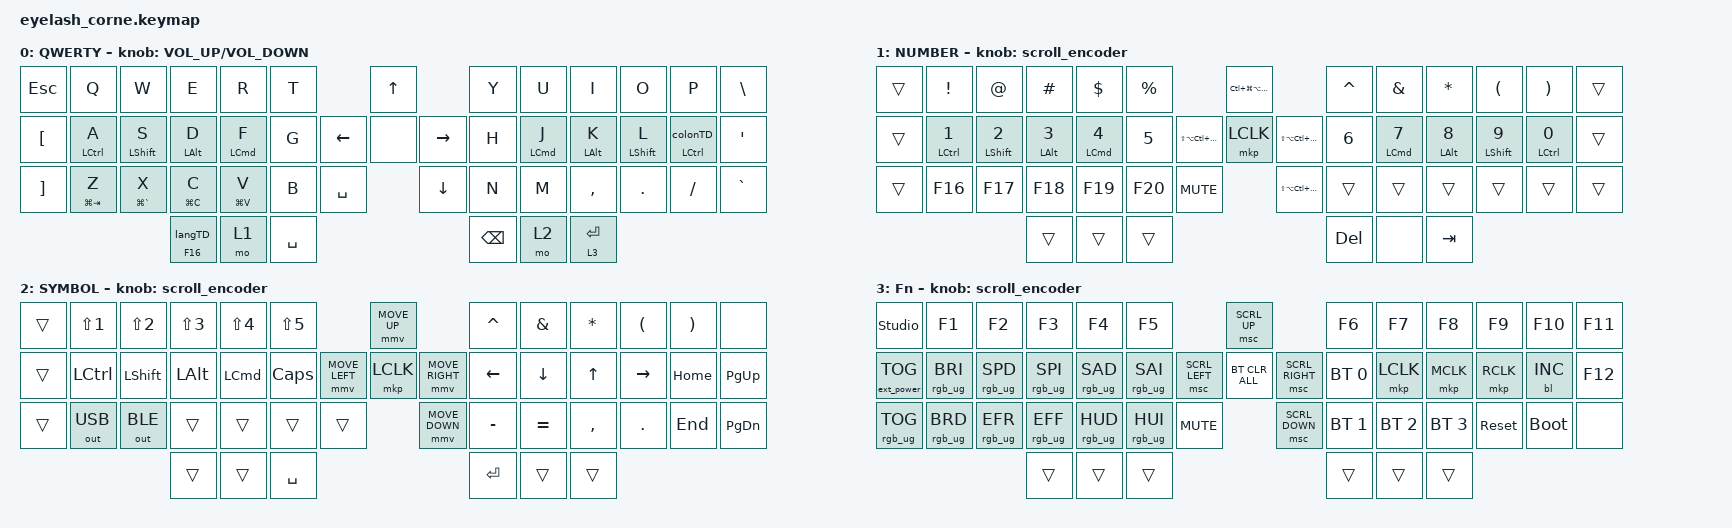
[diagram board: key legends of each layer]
#define ZMK_POINTING_DEFAULT_MOVE_VAL 1200  // 600
#define ZMK_POINTING_DEFAULT_SCRL_VAL 25   // 10

#include <input/processors.dtsi>
#include <zephyr/dt-bindings/input/input-event-codes.h>
#include <behaviors.dtsi>
#include <dt-bindings/zmk/backlight.h>
#include <dt-bindings/zmk/bt.h>
#include <dt-bindings/zmk/ext_power.h>
#include <dt-bindings/zmk/keys.h>
#include <dt-bindings/zmk/outputs.h>
#include <dt-bindings/zmk/pointing.h>
#include <dt-bindings/zmk/rgb.h>

&mmv_input_listener { input-processors = <&zip_xy_scaler 2 1>; };

&msc_input_listener { input-processors = <&zip_scroll_scaler 2 1>; };

&msc {
    acceleration-exponent = <1>;      // 0
    time-to-max-speed-ms = <100>;       // 300
    delay-ms = <0>;                   // 0
};

&mmv {
    time-to-max-speed-ms = <500>;
    acceleration-exponent = <1>;
    trigger-period-ms = <16>;
};

&soft_off { hold-time-ms = <2000>; };

/ {
    behaviors {
        td0: td0 {
            compatible = "zmk,behavior-tap-dance";
            display-name = "Shift/Caps Lock Tap Dance";
            #binding-cells = <0>;
            bindings = <&kp LEFT_SHIFT>, <&kp CAPS>;
        };

        minusTD: minusTD {
            compatible = "zmk,behavior-tap-dance";
            label = "MINUSTD";
            #binding-cells = <0>;
            bindings = <&kp MINUS>, <&kp UNDER>;
        };

        hmShiftR: hmShiftR {
            compatible = "zmk,behavior-hold-tap";
            label = "HMSHIFTR";
            bindings = <&kp>, <&kp>;

            #binding-cells = <2>;
            tapping-term-ms = <220>;
            hold-trigger-key-positions = <0 1 2 3 4 5 13 14 15 16 17 18 28 29 30 31 32 33 34 42 43 44>;
            hold-trigger-on-release;
            flavor = "tap-preferred";
        };

        hmShiftL: hmShiftL {
            compatible = "zmk,behavior-hold-tap";
            label = "HMSHIFTL";
            bindings = <&kp>, <&kp>;

            #binding-cells = <2>;
            tapping-term-ms = <220>;
            hold-trigger-on-release;
            hold-trigger-key-positions = <7 8 10 11 12 22 23 24 25 26 27 36 37 38 39 40 41 46 47 9 45>;
            flavor = "tap-preferred";
        };

        hmR: hmR {
            compatible = "zmk,behavior-hold-tap";
            label = "HMR";
            bindings = <&kp>, <&kp>;

            #binding-cells = <2>;
            tapping-term-ms = <220>;
            hold-trigger-key-positions = <0 1 2 3 4 5 13 14 15 16 17 18 28 29 30 31 32 33 34 42 43 44>;
            hold-trigger-on-release;
            flavor = "tap-preferred";
        };

        hmL: hmL {
            compatible = "zmk,behavior-hold-tap";
            label = "HML";
            bindings = <&kp>, <&kp>;

            #binding-cells = <2>;
            tapping-term-ms = <220>;
            hold-trigger-on-release;
            hold-trigger-key-positions = <7 8 10 11 12 22 23 24 25 26 27 36 37 38 39 40 41 46 47 9 45>;
            flavor = "tap-preferred";
        };

        longPress: longPress {
            compatible = "zmk,behavior-hold-tap";
            label = "LONGPRESS";
            bindings = <&tapOnce>, <&kp>;

            #binding-cells = <2>;
            tapping-term-ms = <200>;
            flavor = "tap-preferred";
        };

        dotTD: dotTD {
            compatible = "zmk,behavior-tap-dance";
            label = "DOTTD";
            #binding-cells = <0>;
            bindings = <&kp DOT>, <&kp LS(SEMI)>;
        };

        commaTD: commaTD {
            compatible = "zmk,behavior-tap-dance";
            label = "COMMATD";
            #binding-cells = <0>;
            bindings = <&kp COMMA>, <&kp SEMI>;
        };

        graveTD: graveTD {
            compatible = "zmk,behavior-tap-dance";
            label = "GRAVETD";
            #binding-cells = <0>;
            bindings = <&kp GRAVE>, <&kp LS(GRAVE)>;
        };

        quoteTD: quoteTD {
            compatible = "zmk,behavior-tap-dance";
            label = "QUOTETD";
            #binding-cells = <0>;
            bindings = <&kp APOS>, <&kp LS(APOS)>;
        };

        backslashTD: backslashTD {
            compatible = "zmk,behavior-tap-dance";
            label = "BACKSLASHTD";
            #binding-cells = <0>;
            bindings = <&kp BACKSLASH>, <&kp LS(BACKSLASH)>;
        };

        slashTD: slashTD {
            compatible = "zmk,behavior-tap-dance";
            label = "SLASHTD";
            #binding-cells = <0>;
            bindings = <&kp SLASH>, <&kp LS(SLASH)>;
        };

        equalTD: equalTD {
            compatible = "zmk,behavior-tap-dance";
            label = "EQUALTD";
            #binding-cells = <0>;
            bindings = <&kp EQUAL>, <&kp PLUS>;
        };

        langTD: langTD {
            compatible = "zmk,behavior-tap-dance";
            label = "LANGTD";
            #binding-cells = <0>;
            bindings = <&kp F13>, <&doubleShift>, <&kp CAPS>;

            tapping-term-ms = <200>;
        };

        colonTD: colonTD {
            compatible = "zmk,behavior-tap-dance";
            label = "COLONTD";
            #binding-cells = <0>;
            bindings = <&kp SEMI>, <&kp LS(SEMICOLON)>;
        };

        hmRb: hmRb {
            compatible = "zmk,behavior-hold-tap";
            label = "HMRB";
            bindings = <&kp>, <&colonTD>;

            #binding-cells = <2>;
            tapping-term-ms = <220>;
            hold-trigger-key-positions = <0 1 2 3 4 5 13 14 15 16 17 18 28 29 30 31 32 33 34 42 43 44>;
            hold-trigger-on-release;
            flavor = "tap-preferred";
        };

        sendDot: sendDot {
            compatible = "zmk,behavior-send-string";
            label = "SENDDOT";
            #binding-cells = <0>;
            text = ".";
        };

        sendComma: sendComma {
            compatible = "zmk,behavior-send-string";
            label = "SENDCOMMA";
            #binding-cells = <0>;
            text = ",";
        };

        langHoldTap: langHoldTap {
            compatible = "zmk,behavior-hold-tap";
            label = "LANGHOLDTAP";
            bindings = <&kp>, <&langTD>;

            #binding-cells = <2>;
            flavor = "tap-preferred";
            tapping-term-ms = <200>;
            quick-tap-ms = <200>;
        };
    };

    rgb_encoder: rgb_encoder {
        compatible = "zmk,behavior-sensor-rotate";
        #sensor-binding-cells = <0>;
        bindings = <&rgb_ug RGB_BRI>, <&rgb_ug RGB_BRD>;
    };

    scroll_encoder: scroll_encoder {
        compatible = "zmk,behavior-sensor-rotate";
        #sensor-binding-cells = <0>;
        bindings = <&msc SCRL_DOWN>, <&msc SCRL_UP>;

        tap-ms = <100>;
    };

    combos {
        compatible = "zmk,combos";

        softoff {
            bindings = <&soft_off>;
            key-positions = <1 15 29>;
        };
    };

    macros {
        // tap a keycode exactly once, even while the key stays held (no auto-repeat)
        tapOnce: tapOnce {
            compatible = "zmk,behavior-macro-one-param";
            #binding-cells = <1>;
            bindings = <&macro_param_1to1>, <&macro_tap &kp MACRO_PLACEHOLDER>;
            label = "TAPONCE";
        };

        switchLang: switchLang {
            compatible = "zmk,behavior-macro";
            #binding-cells = <0>;
            bindings =
                <&macro_press>,
                <&kp LEFT_CONTROL>,
                <&macro_tap>,
                <&kp SPACE>,
                <&macro_release>,
                <&kp LEFT_CONTROL>;

            label = "SWITCHLANG";
            wait-ms = <5>;
            tap-ms = <5>;
        };

        doubleShift: doubleShift {
            compatible = "zmk,behavior-macro";
            #binding-cells = <0>;
            bindings = <&macro_tap>, <&kp LEFT_SHIFT &kp LEFT_SHIFT>;

            label = "DOUBLESHIFT";
            wait-ms = <20>;
            tap-ms = <20>;
        };

        comma_macro: comma {
            compatible = "zmk,behavior-macro";
            #binding-cells = <0>;
            bindings = <&kp COMMA>;
            label = "COMMA";
        };

        dot_macro: dot_macro {
            compatible = "zmk,behavior-macro";
            #binding-cells = <0>;
            bindings = <&kp DOT>;
            label = "DOT_MACRO";
        };
    };

    keymap {
        compatible = "zmk,keymap";

        default_layer {
            display-name = "QWERTY";
            bindings = <
&kp ESC            &kp Q                &kp W                   &kp E               &kp R                &kp T                             &kp UP               &kp Y          &kp U                &kp I            &kp O                   &kp P                 &kp BACKSLASH
&kp LEFT_BRACKET   &hmL LEFT_CONTROL A  &hmShiftL LEFT_SHIFT S  &hmL LEFT_ALT D     &hmL LEFT_COMMAND F  &kp G                   &kp LEFT  &none     &kp RIGHT  &kp H          &hmR LEFT_COMMAND J  &hmR LEFT_ALT K  &hmShiftR LEFT_SHIFT L  &hmRb LEFT_CONTROL 0  &kp APOS
&kp RIGHT_BRACKET  &longPress LG(TAB) Z  &longPress LG(GRAVE) X  &longPress LG(C) C  &longPress LG(V) V   &kp B  &kp SPACE              &kp DOWN             &kp N          &kp M                &kp COMMA        &kp DOT                 &kp SLASH             &kp GRAVE
                                                                &langHoldTap F16 0  &mo 1                &kp SPACE                                              &kp BACKSPACE  &mo 2                &lt 3 RET
            >;

            sensor-bindings = <&inc_dec_kp C_VOLUME_UP C_VOLUME_DOWN>;
        };

        layer_number {
            display-name = "NUMBER";
            bindings = <
&trans  &kp EXCLAMATION             &kp AT_SIGN                    &kp HASH                &kp DLLR                    &kp PERCENT                                          &kp LC(LG(LA(LS(UP))))                               &kp CARET     &kp AMPS              &kp STAR          &kp LPAR                 &kp RPAR              &trans
&trans  &hmL LEFT_CONTROL NUMBER_1  &hmShiftL LEFT_SHIFT NUMBER_2  &hmL LEFT_ALT NUMBER_3  &hmL LEFT_COMMAND NUMBER_4  &kp N5                     &kp LS(LA(LC(LG(LEFT))))  &mkp LCLK                 &kp LS(LA(LC(LG(RIGHT))))  &kp NUMBER_6  &hmR LEFT_COMMAND N7  &hmR LEFT_ALT N8  &hmShiftR LEFT_SHIFT N9  &hmR LEFT_CONTROL N0  &trans
&trans  &kp F16                     &kp F17                        &kp F18                 &kp F19                     &kp F20      &kp C_MUTE                              &kp LS(LA(LC(LG(DOWN))))                             &trans        &trans                &trans            &trans                   &trans                &trans
                                                                   &trans                  &trans                      &trans                                                                                                    &kp DEL       &none                 &kp TAB
            >;

            sensor-bindings = <&scroll_encoder>;
        };

        layer_symbol {
            display-name = "SYMBOL";
            bindings = <
&trans  &kp LS(NUMBER_1)  &kp LS(NUMBER_2)  &kp LS(NUMBER_3)  &kp LS(NUMBER_4)  &kp LS(NUMBER_5)                            &mmv MOVE_UP                     &kp CARET  &kp AMPS   &kp ASTRK  &kp LPAR   &kp RPAR  &none
&trans  &kp LEFT_CONTROL  &kp LEFT_SHIFT    &kp LEFT_ALT      &kp LEFT_COMMAND  &kp CAPSLOCK                &mmv MOVE_LEFT  &mkp LCLK       &mmv MOVE_RIGHT  &kp LEFT   &kp DOWN   &kp UP     &kp RIGHT  &kp HOME  &kp PAGE_UP
&trans  &out OUT_USB      &out OUT_BLE      &trans            &trans            &trans            &trans                    &mmv MOVE_DOWN                   &kp MINUS  &kp EQUAL  &kp COMMA  &kp DOT    &kp END   &kp PAGE_DOWN
                                            &trans            &trans            &kp SPACE                                                                    &kp RET    &trans     &trans
            >;

            sensor-bindings = <&scroll_encoder>;
        };

        layer_fn {
            display-name = "Fn";
            bindings = <
&studio_unlock     &kp F1           &kp F2           &kp F3           &kp F4           &kp F5                                         &msc SCRL_UP                     &kp F6        &kp F7        &kp F8        &kp F9      &kp F10      &kp F11
&ext_power EP_TOG  &rgb_ug RGB_BRI  &rgb_ug RGB_SPD  &rgb_ug RGB_SPI  &rgb_ug RGB_SAD  &rgb_ug RGB_SAI                &msc SCRL_LEFT  &bt BT_CLR_ALL  &msc SCRL_RIGHT  &bt BT_SEL 0  &mkp LCLK     &mkp MCLK     &mkp RCLK   &bl BL_INC   &kp F12
&rgb_ug RGB_TOG    &rgb_ug RGB_BRD  &rgb_ug RGB_EFR  &rgb_ug RGB_EFF  &rgb_ug RGB_HUD  &rgb_ug RGB_HUI  &kp C_MUTE                    &msc SCRL_DOWN                   &bt BT_SEL 1  &bt BT_SEL 2  &bt BT_SEL 3  &sys_reset  &bootloader  &none
                                                     &trans           &trans           &trans                                                                          &trans        &trans        &trans
            >;

            sensor-bindings = <&scroll_encoder>;
        };
    };
};
